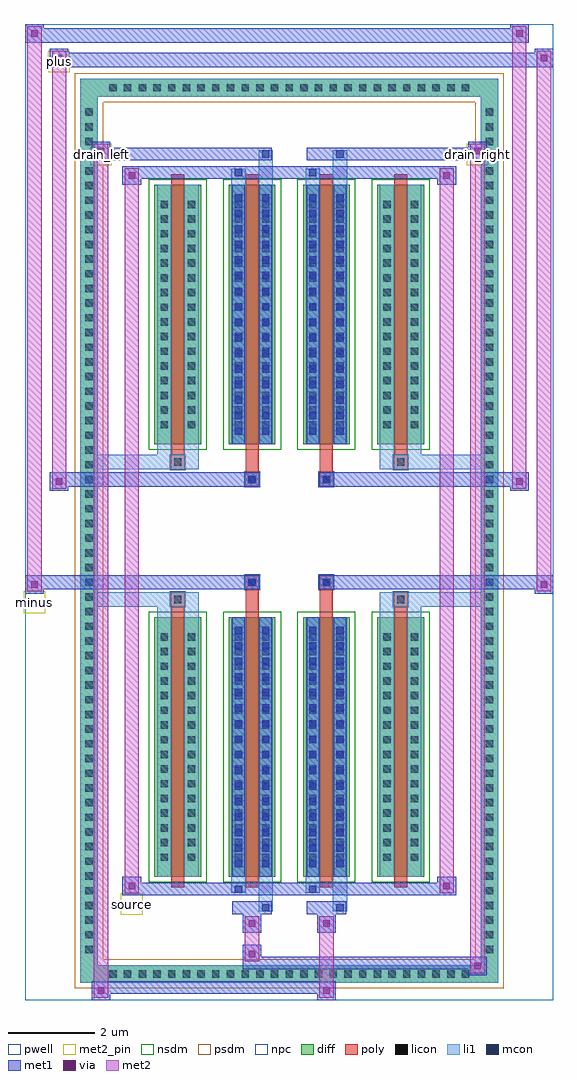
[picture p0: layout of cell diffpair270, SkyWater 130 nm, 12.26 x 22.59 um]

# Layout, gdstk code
import gdstk
lib = gdstk.Library(unit=1e-6, precision=5e-09)
def R(c, l, rs):  # rectangles x0, y0, x1, y1
    for r in rs: c.add(gdstk.rectangle(r[:2], r[2:], *l))
def A(c, l, x, y, w, h, nx, ny, dx, dy):  # array of equal rectangles
    R(c, l, [(x+i*dx, y+j*dy, x+i*dx+w, y+j*dy+h) for i in range(nx) for j in range(ny)])
def P(c, l, *ps):  # polygons
    for p in ps: c.add(gdstk.Polygon(p, *l))
pwell = (64, 44)
diff = (65, 20)
poly = (66, 20)
licon = (66, 44)
li1 = (67, 20)
mcon = (67, 44)
met1 = (68, 20)
via = (68, 44)
met2_pin = (69, 16)
met2 = (69, 20)
nsdm = (93, 44)
psdm = (94, 20)
npc = (95, 20)

diffpair270 = lib.new_cell('diffpair270')
R(diffpair270, pwell, [(-6.11,-10.86,6.11,11.73), (-3.43,-9.05,-0.01,-0.825), (0.01,-9.05,3.43,-0.825), (-3.43,0.825,-0.01,9.05), (0.01,0.825,3.43,9.05)])
A(diffpair270, diff, -4.285, -10.46, 0.41, 0.41, 25, 2, 0.34, 20.51)
A(diffpair270, diff, -4.84, -9.895, 0.41, 0.41, 1, 58, 0, 0.34)
A(diffpair270, diff, 4.43, -9.895, 0.41, 0.41, 1, 58, 0, 0.34)
A(diffpair270, diff, -3.12, -8.005, 1.08, 6, 4, 2, 1.72, 10.01)
R(diffpair270, diff, [(-4.285,-10.46,4.285,-10.05), (-4.84,-9.895,-4.43,9.895), (4.43,-9.895,4.84,9.895), (-4.285,10.05,4.285,10.46)])
P(diffpair270, diff, [(4.84,10.46),(-4.84,10.46),(-4.84,-10.05),(-4.43,-10.05),(-4.43,10.05),(4.43,10.05),(4.43,-10.05),(-4.43,-10.05),(-4.84,-10.05),(-4.84,-10.46),(4.84,-10.46)])
A(diffpair270, poly, -2.73, -8.255, 0.3, 6.5, 4, 2, 1.72, 10.01)
R(diffpair270, poly, [(-2.745,-1.755,-2.415,-1.425), (-2.745,-1.755,-2.415,-1.425), (-1.01,-1.755,-0.71,-1.355), (0.71,-1.755,1.01,-1.355), (2.415,-1.755,2.745,-1.425), (2.415,-1.755,2.745,-1.425), (-1.025,-1.355,-0.695,-1.025), (-1.025,-1.355,-0.695,-1.025), (0.695,-1.355,1.025,-1.025), (0.695,-1.355,1.025,-1.025), (-1.025,1.025,-0.695,1.355), (-1.025,1.025,-0.695,1.355), (0.695,1.025,1.025,1.355), (0.695,1.025,1.025,1.355), (-1.01,1.355,-0.71,1.755), (0.71,1.355,1.01,1.755), (-2.745,1.425,-2.415,1.755), (-2.745,1.425,-2.415,1.755), (2.415,1.425,2.745,1.755), (2.415,1.425,2.745,1.755)])
A(diffpair270, licon, -4.165, -10.34, 0.17, 0.17, 25, 2, 0.34, 20.51)
A(diffpair270, licon, -4.72, -9.775, 0.17, 0.17, 1, 58, 0, 0.34)
A(diffpair270, licon, 4.55, -9.775, 0.17, 0.17, 1, 58, 0, 0.34)
A(diffpair270, licon, -2.98, -7.64, 0.17, 0.17, 1, 16, 0, 0.34)
A(diffpair270, licon, -2.35, -7.64, 0.17, 0.17, 1, 16, 0, 0.34)
A(diffpair270, licon, -1.26, -7.64, 0.17, 0.17, 1, 16, 0, 0.34)
A(diffpair270, licon, -0.63, -7.64, 0.17, 0.17, 1, 16, 0, 0.34)
A(diffpair270, licon, 0.46, -7.64, 0.17, 0.17, 1, 16, 0, 0.34)
A(diffpair270, licon, 1.09, -7.64, 0.17, 0.17, 1, 16, 0, 0.34)
A(diffpair270, licon, 2.18, -7.64, 0.17, 0.17, 1, 16, 0, 0.34)
A(diffpair270, licon, 2.81, -7.64, 0.17, 0.17, 1, 16, 0, 0.34)
A(diffpair270, licon, -2.98, 2.37, 0.17, 0.17, 1, 16, 0, 0.34)
A(diffpair270, licon, -2.35, 2.37, 0.17, 0.17, 1, 16, 0, 0.34)
A(diffpair270, licon, -1.26, 2.37, 0.17, 0.17, 1, 16, 0, 0.34)
A(diffpair270, licon, -0.63, 2.37, 0.17, 0.17, 1, 16, 0, 0.34)
A(diffpair270, licon, 0.46, 2.37, 0.17, 0.17, 1, 16, 0, 0.34)
A(diffpair270, licon, 1.09, 2.37, 0.17, 0.17, 1, 16, 0, 0.34)
A(diffpair270, licon, 2.18, 2.37, 0.17, 0.17, 1, 16, 0, 0.34)
A(diffpair270, licon, 2.81, 2.37, 0.17, 0.17, 1, 16, 0, 0.34)
R(diffpair270, licon, [(-2.665,-1.675,-2.495,-1.505), (2.495,-1.675,2.665,-1.505), (-0.945,-1.275,-0.775,-1.105), (0.775,-1.275,0.945,-1.105), (-0.945,1.105,-0.775,1.275), (0.775,1.105,0.945,1.275), (-2.665,1.505,-2.495,1.675), (2.495,1.505,2.665,1.675)])
A(diffpair270, li1, -4.245, -10.42, 0.33, 0.33, 25, 2, 0.34, 20.51)
A(diffpair270, li1, -4.8, -9.855, 0.33, 0.33, 1, 58, 0, 0.34)
A(diffpair270, li1, 4.47, -9.855, 0.33, 0.33, 1, 58, 0, 0.34)
A(diffpair270, li1, -1.26, -7.79, 0.17, 0.17, 1, 16, 0, 0.36)
A(diffpair270, li1, -0.63, -7.79, 0.17, 0.17, 1, 16, 0, 0.36)
A(diffpair270, li1, 0.46, -7.79, 0.17, 0.17, 1, 16, 0, 0.36)
A(diffpair270, li1, 1.09, -7.79, 0.17, 0.17, 1, 16, 0, 0.36)
A(diffpair270, li1, -3.06, -7.72, 0.33, 0.33, 1, 16, 0, 0.34)
A(diffpair270, li1, -2.43, -7.72, 0.33, 0.33, 1, 16, 0, 0.34)
A(diffpair270, li1, -1.34, -7.72, 0.33, 0.33, 1, 16, 0, 0.34)
A(diffpair270, li1, -0.71, -7.72, 0.33, 0.33, 1, 16, 0, 0.34)
A(diffpair270, li1, 0.38, -7.72, 0.33, 0.33, 1, 16, 0, 0.34)
A(diffpair270, li1, 1.01, -7.72, 0.33, 0.33, 1, 16, 0, 0.34)
A(diffpair270, li1, 2.1, -7.72, 0.33, 0.33, 1, 16, 0, 0.34)
A(diffpair270, li1, 2.73, -7.72, 0.33, 0.33, 1, 16, 0, 0.34)
A(diffpair270, li1, -1.26, 2.22, 0.17, 0.17, 1, 16, 0, 0.36)
A(diffpair270, li1, -0.63, 2.22, 0.17, 0.17, 1, 16, 0, 0.36)
A(diffpair270, li1, 0.46, 2.22, 0.17, 0.17, 1, 16, 0, 0.36)
A(diffpair270, li1, 1.09, 2.22, 0.17, 0.17, 1, 16, 0, 0.36)
A(diffpair270, li1, -3.06, 2.29, 0.33, 0.33, 1, 16, 0, 0.34)
A(diffpair270, li1, -2.43, 2.29, 0.33, 0.33, 1, 16, 0, 0.34)
A(diffpair270, li1, -1.34, 2.29, 0.33, 0.33, 1, 16, 0, 0.34)
A(diffpair270, li1, -0.71, 2.29, 0.33, 0.33, 1, 16, 0, 0.34)
A(diffpair270, li1, 0.38, 2.29, 0.33, 0.33, 1, 16, 0, 0.34)
A(diffpair270, li1, 1.01, 2.29, 0.33, 0.33, 1, 16, 0, 0.34)
A(diffpair270, li1, 2.1, 2.29, 0.33, 0.33, 1, 16, 0, 0.34)
A(diffpair270, li1, 2.73, 2.29, 0.33, 0.33, 1, 16, 0, 0.34)
R(diffpair270, li1, [(-4.84,-10.46,-4.43,-10.05), (-4.84,-10.46,-4.43,-10.05), (-4.43,-10.46,4.43,-10.05), (4.43,-10.46,4.84,-10.05), (4.43,-10.46,4.84,-10.05), (-4.84,-10.05,-4.43,10.05), (4.43,-10.05,4.84,10.05), (-0.71,-8.81,-0.38,-8.005), (-0.63,-8.81,-0.46,-8.64), (1.01,-8.81,1.34,-8.005), (1.09,-8.81,1.26,-8.64), (-1.34,-8.38,-1.01,-8.005), (-1.26,-8.38,-1.09,-8.21), (0.38,-8.38,0.71,-8.005), (0.46,-8.38,0.63,-8.21), (-3.06,-8.005,-2.73,-2.005), (-2.43,-8.005,-2.1,-2.005), (-1.34,-8.005,-1.01,-2.005), (-0.71,-8.005,-0.38,-2.005), (0.38,-8.005,0.71,-2.005), (1.01,-8.005,1.34,-2.005), (2.1,-8.005,2.43,-2.005), (2.73,-8.005,3.06,-2.005), (-1.26,-7.79,-1.09,-2.22), (-0.63,-7.79,-0.46,-2.22), (0.46,-7.79,0.63,-2.22), (1.09,-7.79,1.26,-2.22), (-3.06,-2.005,-2.73,-1.425), (-2.43,-2.005,-2.1,-1.425), (2.1,-2.005,2.43,-1.425), (2.73,-2.005,3.06,-1.425), (-4.84,-1.755,-2.745,-1.425), (-3.06,-1.755,-2.745,-1.425), (-2.745,-1.755,-2.415,-1.425), (-2.415,-1.755,-2.1,-1.425), (2.1,-1.755,2.415,-1.425), (2.415,-1.755,2.745,-1.425), (2.415,-1.755,4.84,-1.425), (2.745,-1.755,3.06,-1.425), (-1.025,-1.355,-0.695,-1.025), (0.695,-1.355,1.025,-1.025), (-1.025,1.025,-0.695,1.355), (0.695,1.025,1.025,1.355), (-4.84,1.425,-2.745,1.755), (-3.06,1.425,-2.745,1.755), (-3.06,1.425,-2.73,2.005), (-2.745,1.425,-2.415,1.755), (-2.43,1.425,-2.1,2.005), (-2.415,1.425,-2.1,1.755), (2.1,1.425,2.415,1.755), (2.1,1.425,2.43,2.005), (2.415,1.425,2.745,1.755), (2.415,1.425,4.84,1.755), (2.73,1.425,3.06,2.005), (2.745,1.425,3.06,1.755), (-3.06,2.005,-2.73,8.005), (-2.43,2.005,-2.1,8.005), (-1.34,2.005,-1.01,8.005), (-0.71,2.005,-0.38,8.005), (0.38,2.005,0.71,8.005), (1.01,2.005,1.34,8.005), (2.1,2.005,2.43,8.005), (2.73,2.005,3.06,8.005), (-1.26,2.22,-1.09,7.79), (-0.63,2.22,-0.46,7.79), (0.46,2.22,0.63,7.79), (1.09,2.22,1.26,7.79), (-1.34,8.005,-1.01,8.38), (-0.71,8.005,-0.38,8.81), (0.38,8.005,0.71,8.38), (1.01,8.005,1.34,8.81), (-1.26,8.21,-1.09,8.38), (0.46,8.21,0.63,8.38), (-0.63,8.64,-0.46,8.81), (1.09,8.64,1.26,8.81), (-4.84,10.05,-4.43,10.46), (-4.84,10.05,-4.43,10.46), (-4.43,10.05,4.43,10.46), (4.43,10.05,4.84,10.46), (4.43,10.05,4.84,10.46)])
A(diffpair270, mcon, -1.26, -7.79, 0.17, 0.17, 1, 16, 0, 0.36)
A(diffpair270, mcon, -0.63, -7.79, 0.17, 0.17, 1, 16, 0, 0.36)
A(diffpair270, mcon, 0.46, -7.79, 0.17, 0.17, 1, 16, 0, 0.36)
A(diffpair270, mcon, 1.09, -7.79, 0.17, 0.17, 1, 16, 0, 0.36)
A(diffpair270, mcon, -1.26, 2.22, 0.17, 0.17, 1, 16, 0, 0.36)
A(diffpair270, mcon, -0.63, 2.22, 0.17, 0.17, 1, 16, 0, 0.36)
A(diffpair270, mcon, 0.46, 2.22, 0.17, 0.17, 1, 16, 0, 0.36)
A(diffpair270, mcon, 1.09, 2.22, 0.17, 0.17, 1, 16, 0, 0.36)
R(diffpair270, mcon, [(-0.63,-8.81,-0.46,-8.64), (1.09,-8.81,1.26,-8.64), (-1.26,-8.38,-1.09,-8.21), (0.46,-8.38,0.63,-8.21), (-0.945,-1.275,-0.775,-1.105), (0.775,-1.275,0.945,-1.105), (-0.945,1.105,-0.775,1.275), (0.775,1.105,0.945,1.275), (-1.26,8.21,-1.09,8.38), (0.46,8.21,0.63,8.38), (-0.63,8.64,-0.46,8.81), (1.09,8.64,1.26,8.81)])
A(diffpair270, met1, -1.32, -7.85, 0.29, 0.29, 1, 16, 0, 0.36)
A(diffpair270, met1, -0.69, -7.85, 0.29, 0.29, 1, 16, 0, 0.36)
A(diffpair270, met1, 0.4, -7.85, 0.29, 0.29, 1, 16, 0, 0.36)
A(diffpair270, met1, 1.03, -7.85, 0.29, 0.29, 1, 16, 0, 0.36)
A(diffpair270, met1, -1.32, 2.16, 0.29, 0.29, 1, 16, 0, 0.36)
A(diffpair270, met1, -0.69, 2.16, 0.29, 0.29, 1, 16, 0, 0.36)
A(diffpair270, met1, 0.4, 2.16, 0.29, 0.29, 1, 16, 0, 0.36)
A(diffpair270, met1, 1.03, 2.16, 0.29, 0.29, 1, 16, 0, 0.36)
R(diffpair270, met1, [(-4.57,-10.86,-4.14,-10.43), (0.645,-10.86,1.075,-10.43), (-4.57,-10.72,1.075,-10.43), (4.14,-10.29,4.57,-9.86), (-1.075,-10.15,4.57,-9.86), (-1.075,-10.01,-0.645,-9.58), (-1.075,-9.3,-0.645,-8.87), (0.645,-9.3,1.075,-8.87), (-1.32,-8.87,-0.4,-8.58), (-0.69,-8.87,-0.4,-8.58), (0.4,-8.87,1.32,-8.58), (1.03,-8.87,1.32,-8.58), (-3.86,-8.44,-3.43,-8.01), (-3.86,-8.44,-1.32,-8.15), (-1.32,-8.44,-1.03,-8.15), (-1.32,-8.44,-0.4,-8.15), (-0.4,-8.44,0.4,-8.15), (0.4,-8.44,0.69,-8.15), (0.4,-8.44,1.32,-8.15), (1.32,-8.44,3.86,-8.15), (3.43,-8.44,3.86,-8.01), (-1.32,-8.005,-1.03,-2.005), (-0.69,-8.005,-0.4,-2.005), (0.4,-8.005,0.69,-2.005), (1.03,-8.005,1.32,-2.005), (-6.11,-1.455,-5.68,-1.025), (5.68,-1.455,6.11,-1.025), (-6.11,-1.355,-0.695,-1.025), (-1.025,-1.355,-0.695,-1.025), (0.695,-1.355,1.025,-1.025), (0.695,-1.355,6.11,-1.025), (-1.005,-1.335,-0.715,-1.045), (0.715,-1.335,1.005,-1.045), (-5.54,0.925,-5.11,1.355), (5.11,0.925,5.54,1.355), (-5.54,1.025,-1.025,1.355), (-1.025,1.025,-0.695,1.355), (0.695,1.025,1.025,1.355), (1.025,1.025,5.54,1.355), (-1.005,1.045,-0.715,1.335), (0.715,1.045,1.005,1.335), (-1.32,2.005,-1.03,8.005), (-0.69,2.005,-0.4,8.005), (0.4,2.005,0.69,8.005), (1.03,2.005,1.32,8.005), (-3.86,8.01,-3.43,8.44), (3.43,8.01,3.86,8.44), (-3.86,8.15,-1.32,8.44), (-1.32,8.15,-1.03,8.44), (-1.32,8.15,-0.4,8.44), (-0.4,8.15,0.4,8.44), (0.4,8.15,0.69,8.44), (0.4,8.15,1.32,8.44), (1.32,8.15,3.86,8.44), (-4.57,8.58,-4.14,9.01), (-4.57,8.58,-1.32,8.87), (-1.32,8.58,-0.4,8.87), (-0.69,8.58,-0.4,8.87), (0.4,8.58,1.32,8.87), (1.03,8.58,1.32,8.87), (1.32,8.58,4.57,8.87), (4.14,8.58,4.57,9.01), (-5.54,10.73,-5.11,11.16), (-5.54,10.73,-3.43,11.06), (-3.43,10.73,3.43,11.06), (3.43,10.73,6.11,11.06), (5.68,10.73,6.11,11.16), (-6.11,11.3,-5.68,11.73), (-6.11,11.3,-3.43,11.63), (-3.43,11.3,3.43,11.63), (3.43,11.3,5.54,11.63), (5.11,11.3,5.54,11.73)])
R(diffpair270, via, [(-4.43,-10.72,-4.28,-10.57), (0.785,-10.72,0.935,-10.57), (4.28,-10.15,4.43,-10), (-0.935,-9.87,-0.785,-9.72), (-0.935,-9.16,-0.785,-9.01), (0.785,-9.16,0.935,-9.01), (-3.72,-8.3,-3.57,-8.15), (3.57,-8.3,3.72,-8.15), (-5.97,-1.315,-5.82,-1.165), (5.82,-1.315,5.97,-1.165), (-5.4,1.065,-5.25,1.215), (5.25,1.065,5.4,1.215), (-3.72,8.15,-3.57,8.3), (3.57,8.15,3.72,8.3), (-4.43,8.72,-4.28,8.87), (4.28,8.72,4.43,8.87), (-5.4,10.87,-5.25,11.02), (5.82,10.87,5.97,11.02), (-5.97,11.44,-5.82,11.59), (5.25,11.44,5.4,11.59)])
R(diffpair270, met2_pin, [(-3.895,-8.89,-3.395,-8.39), (-6.145,-1.905,-5.645,-1.405), (-4.605,8.46,-4.105,8.96), (4.105,8.46,4.605,8.96), (-5.575,10.61,-5.075,11.11)])
R(diffpair270, met2, [(-4.52,-10.81,-4.19,-10.48), (-4.52,-10.81,-4.19,8.96), (0.695,-10.81,1.025,-10.48), (0.695,-10.48,1.025,-9.25), (4.19,-10.24,4.52,-9.91), (4.19,-10.24,4.52,8.96), (-1.025,-9.96,-0.695,-9.63), (-1.025,-9.63,-0.695,-9.25), (-1.025,-9.25,-0.695,-8.92), (0.695,-9.25,1.025,-8.92), (-3.81,-8.39,-3.48,-8.06), (-3.81,-8.39,-3.48,8.39), (3.48,-8.39,3.81,-8.06), (3.48,-8.39,3.81,8.39), (-6.06,-1.405,-5.73,-1.075), (-6.06,-1.405,-5.73,11.68), (5.73,-1.405,6.06,-1.075), (5.73,-1.405,6.06,11.11), (-5.49,0.975,-5.16,1.305), (-5.49,0.975,-5.16,11.11), (5.16,0.975,5.49,1.305), (5.16,0.975,5.49,11.68), (-3.81,8.06,-3.48,8.39), (3.48,8.06,3.81,8.39), (-4.52,8.63,-4.19,8.96), (4.19,8.63,4.52,8.96), (-5.49,10.78,-5.16,11.11), (5.73,10.78,6.06,11.11), (-6.06,11.35,-5.73,11.68), (5.16,11.35,5.49,11.68)])
P(diffpair270, met2, [(6.06,-1.405),(6.06,-1.405),(6.06,-1.075),(6.06,-1.075)],
  [(6.06,10.78),(6.06,10.78),(6.06,11.11),(6.06,11.11)],
  [(-5.73,-1.405),(-5.73,-1.405),(-5.73,-1.075),(-5.73,-1.075)],
  [(-5.73,11.35),(-5.73,11.35),(-5.73,11.68),(-5.73,11.68)],
  [(5.49,0.975),(5.49,0.975),(5.49,1.305),(5.49,1.305)],
  [(5.49,11.35),(5.49,11.35),(5.49,11.68),(5.49,11.68)],
  [(-5.16,0.975),(-5.16,0.975),(-5.16,1.305),(-5.16,1.305)],
  [(-5.16,10.78),(-5.16,10.78),(-5.16,11.11),(-5.16,11.11)],
  [(-4.19,-10.81),(-4.19,-10.81),(-4.19,-10.48),(-4.19,-10.48)],
  [(-4.19,8.63),(-4.19,8.63),(-4.19,8.96),(-4.19,8.96)],
  [(4.52,-10.24),(4.52,-10.24),(4.52,-9.91),(4.52,-9.91)],
  [(4.52,8.63),(4.52,8.63),(4.52,8.96),(4.52,8.96)],
  [(-3.48,-8.39),(-3.48,-8.39),(-3.48,-8.06),(-3.48,-8.06)],
  [(-3.48,8.06),(-3.48,8.06),(-3.48,8.39),(-3.48,8.39)],
  [(3.81,-8.39),(3.81,-8.39),(3.81,-8.06),(3.81,-8.06)],
  [(3.81,8.06),(3.81,8.06),(3.81,8.39),(3.81,8.39)])
A(diffpair270, nsdm, -3.25, -8.135, 1.34, 6.26, 4, 2, 1.72, 10.01)
P(diffpair270, psdm, [(4.97,10.59),(-4.97,10.59),(-4.97,-9.92),(-4.3,-9.92),(-4.3,9.92),(4.3,9.92),(4.3,-9.92),(-4.3,-9.92),(-4.97,-9.92),(-4.97,-10.59),(4.97,-10.59)])
R(diffpair270, npc, [(-2.765,-1.775,-2.395,-1.405), (2.395,-1.775,2.765,-1.405), (-1.045,-1.375,-0.675,-1.005), (0.675,-1.375,1.045,-1.005), (-1.045,1.005,-0.675,1.375), (0.675,1.005,1.045,1.375), (-2.765,1.405,-2.395,1.775), (2.395,1.405,2.765,1.775)])
diffpair270.add(gdstk.Label('minus', (-5.895,-1.655), layer=69, texttype=5))
diffpair270.add(gdstk.Label('drain_right', (4.355,8.71), layer=69, texttype=5))
diffpair270.add(gdstk.Label('drain_left', (-4.355,8.71), layer=69, texttype=5))
diffpair270.add(gdstk.Label('source', (-3.645,-8.64), layer=69, texttype=5))
diffpair270.add(gdstk.Label('plus', (-5.325,10.86), layer=69, texttype=5))

lib.write_gds('diffpair270.gds')
